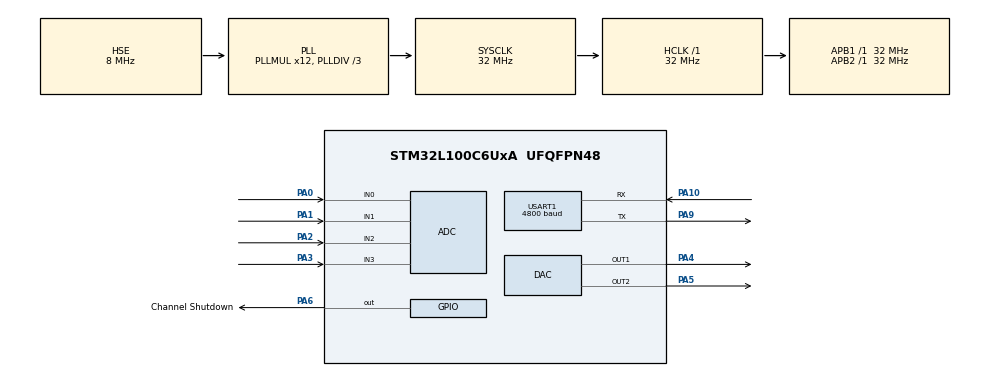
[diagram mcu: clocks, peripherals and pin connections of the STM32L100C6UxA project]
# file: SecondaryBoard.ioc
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ADC.Channel-0\#ChannelRegularConversion=ADC_CHANNEL_0
ADC.Channel-1\#ChannelRegularConversion=ADC_CHANNEL_1
ADC.Channel-2\#ChannelRegularConversion=ADC_CHANNEL_2
ADC.Channel-3\#ChannelRegularConversion=ADC_CHANNEL_3
ADC.Channel-4\#ChannelRegularConversion=ADC_CHANNEL_VREFINT
ADC.ClockPrescaler=ADC_CLOCK_ASYNC_DIV4
ADC.ContinuousConvMode=ENABLE
ADC.DMAContinuousRequests=ENABLE
ADC.EnableAnalogWatchDog=false
ADC.NbrOfConversion=5
ADC.NbrOfConversionFlag=1
ADC.Rank-0\#ChannelRegularConversion=1
ADC.Rank-1\#ChannelRegularConversion=2
ADC.Rank-2\#ChannelRegularConversion=3
ADC.Rank-3\#ChannelRegularConversion=4
ADC.Rank-4\#ChannelRegularConversion=5
ADC.SamplingTime-0\#ChannelRegularConversion=ADC_SAMPLETIME_4CYCLES
ADC.SamplingTime-1\#ChannelRegularConversion=ADC_SAMPLETIME_4CYCLES
ADC.SamplingTime-2\#ChannelRegularConversion=ADC_SAMPLETIME_4CYCLES
ADC.SamplingTime-3\#ChannelRegularConversion=ADC_SAMPLETIME_4CYCLES
ADC.SamplingTime-4\#ChannelRegularConversion=ADC_SAMPLETIME_4CYCLES
ADC.ScanConvMode=ADC_SCAN_ENABLE
Dma.ADC.0.Direction=DMA_PERIPH_TO_MEMORY
Dma.ADC.0.Instance=DMA1_Channel1
Dma.ADC.0.MemDataAlignment=DMA_MDATAALIGN_HALFWORD
Dma.ADC.0.MemInc=DMA_MINC_ENABLE
Dma.ADC.0.Mode=DMA_CIRCULAR
Dma.ADC.0.PeriphDataAlignment=DMA_PDATAALIGN_HALFWORD
Dma.ADC.0.PeriphInc=DMA_PINC_DISABLE
Dma.ADC.0.Priority=DMA_PRIORITY_LOW
Dma.Request0=ADC
Dma.Request1=USART1_TX
Dma.USART1_TX.1.Direction=DMA_MEMORY_TO_PERIPH
Dma.USART1_TX.1.Instance=DMA1_Channel4
Dma.USART1_TX.1.MemDataAlignment=DMA_MDATAALIGN_BYTE
Dma.USART1_TX.1.MemInc=DMA_MINC_ENABLE
Dma.USART1_TX.1.Mode=DMA_CIRCULAR
Dma.USART1_TX.1.PeriphDataAlignment=DMA_PDATAALIGN_BYTE
Dma.USART1_TX.1.PeriphInc=DMA_PINC_DISABLE
Dma.USART1_TX.1.Priority=DMA_PRIORITY_LOW
Mcu.Family=STM32L1
Mcu.Name=STM32L100C6UxA
Mcu.Package=UFQFPN48
NVIC.DMA1_Channel1_IRQn=true\:0\:0\:false\:false\:true\:false\:true\:true
NVIC.DMA1_Channel4_IRQn=true\:0\:0\:false\:false\:true\:false\:true\:true
NVIC.PriorityGroup=NVIC_PRIORITYGROUP_4
PA0-WKUP1.Mode=IN0
PA0-WKUP1.Signal=ADC_IN0
PA1.Mode=IN1
PA1.Signal=ADC_IN1
PA10.Mode=Asynchronous
PA10.Signal=USART1_RX
PA13.Mode=Serial_Wire
PA13.Signal=SYS_JTMS-SWDIO
PA14.Mode=Serial_Wire
PA14.Signal=SYS_JTCK-SWCLK
PA2.Mode=IN2
PA2.Signal=ADC_IN2
PA3.Mode=IN3
PA3.Signal=ADC_IN3
PA4.Signal=COMP_DAC1_group
PA5.Signal=COMP_DAC2_group
PA6.GPIO_Label=Channel Shutdown
PA6.PinState=GPIO_PIN_SET
PA6.Signal=GPIO_Output
PA9.Mode=Asynchronous
PA9.Signal=USART1_TX
PH0-OSC_IN.Mode=HSE-External-Oscillator
PH0-OSC_IN.Signal=RCC_OSC_IN
PH1-OSC_OUT.Mode=HSE-External-Oscillator
PH1-OSC_OUT.Signal=RCC_OSC_OUT
ProjectManager.HeapSize=0x200
ProjectManager.StackSize=0x400
ProjectManager.TargetToolchain=MDK-ARM V5
RCC.48MHZClocksFreq_Value=48000000
RCC.AHBFreq_Value=32000000
RCC.APB1Freq_Value=32000000
RCC.APB1TimFreq_Value=32000000
RCC.APB2Freq_Value=32000000
RCC.APB2TimFreq_Value=32000000
RCC.HCLKFreq_Value=32000000
RCC.HSE_VALUE=8000000
RCC.HSI_VALUE=16000000
RCC.LSE_VALUE=32768
RCC.MSI_VALUE=2097000
RCC.PLLDIV=RCC_PLL_DIV3
RCC.PLLMUL=RCC_PLL_MUL12
RCC.PLLSourceVirtual=RCC_PLLSOURCE_HSE
RCC.SYSCLKFreq_VALUE=32000000
RCC.SYSCLKSource=RCC_SYSCLKSOURCE_PLLCLK
RCC.VCOOutputFreq_Value=96000000
SH.COMP_DAC1_group.0=DAC_OUT1,DAC_OUT1
SH.COMP_DAC2_group.0=DAC_OUT2,DAC_OUT2
USART1.BaudRate=4800
USART1.Parity=PARITY_ODD
USART1.VirtualMode=VM_ASYNC
USART1.WordLength=WORDLENGTH_9B
VP_ADC_Vref_Input.Mode=IN-Vrefint
board=custom

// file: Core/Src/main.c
/* USER CODE BEGIN Header */
/**
  ******************************************************************************
  * @file           : main.c
  * @brief          : Main program body
  ******************************************************************************
  * @attention
  *
  * Copyright (c) 2022 STMicroelectronics.
  * All rights reserved.
  *
  * This software is licensed under terms that can be found in the LICENSE file
  * in the root directory of this software component.
  * If no LICENSE file comes with this software, it is provided AS-IS.
  *
  ******************************************************************************
  */
/* USER CODE END Header */
#include "main.h"

/* USER CODE BEGIN Includes */
#include "string.h"
/* USER CODE END Includes */

 ADC_HandleTypeDef hadc;
DMA_HandleTypeDef hdma_adc;

DAC_HandleTypeDef hdac;

UART_HandleTypeDef huart1;
DMA_HandleTypeDef hdma_usart1_tx;

/* USER CODE BEGIN PV */

float P = 0.1;
float I = 0.1;
float D = 0.1;

uint8_t txbuffer[64];//Uart TX Buffer
uint8_t rxbuffer[64];//Uart RX Buffer
uint8_t rxbuffercpy[64];//Uart RX Buffer copy for manipulation

//Channel numbers
float voltnum1 = 0.0;
float ampnum1 = 0.0;
//float voltnum2 = 0.0;
//float ampnum2 = 0.0;

float correctedvoltnum1;

uint8_t first_shot = 1;

//Array for the adc values and vars to hold them
uint16_t adcvalues[5];
uint16_t adc_current = 0;
uint16_t adc_linear = 0;
uint16_t adc_opamp = 0;
uint16_t adc_switching = 0;
uint16_t adc_vref = 0;
uint16_t* vrefptr = ((uint16_t*)VREFINT_CAL_ADDR_CMSIS);

//Globals for adc values
uint16_t v1;
float lin_num;
float cur_num;
float op_num;
float swi_num;

// The value for the Intgral part of the PID controller
float error = 0;
float derivative = 0;
float integral = 0;
float error_previous = 0;
float correction = 0;

/* USER CODE END PV */

void SystemClock_Config(void);
static void MX_GPIO_Init(void);
static void MX_DMA_Init(void);
static void MX_ADC_Init(void);
static void MX_DAC_Init(void);
static void MX_USART1_UART_Init(void);
/* USER CODE BEGIN PFP */

void ourInit(void);//Runs several Inits

/* USER CODE END PFP */

int main(void)
{

  /* MCU Configuration--------------------------------------------------------*/

  /* Reset of all peripherals, Initializes the Flash interface and the Systick. */
  HAL_Init();

  /* Configure the system clock */
  SystemClock_Config();

  /* Initialize all configured peripherals */
  MX_GPIO_Init();
  MX_DMA_Init();
  MX_ADC_Init();
  MX_DAC_Init();
  MX_USART1_UART_Init();
  /* USER CODE BEGIN 2 */
	ourInit();
  /* USER CODE END 2 */

  /* Infinite loop */
  while (1)
  {

    /* USER CODE BEGIN 3 */

		//Control channel here

		if(voltnum1 <= 0.00){
			HAL_GPIO_WritePin(Channel_Shutdown_GPIO_Port, Channel_Shutdown_Pin, GPIO_PIN_SET);
			//HAL_GPIO_WritePin(Status_LED_1_GPIO_Port, Status_LED_1_Pin, GPIO_PIN_RESET);
		}

		uint16_t vrefvalue = (uint16_t)*vrefptr;
		float vddcalc = (float)3.0 * ((float)vrefvalue / (float)adc_vref);

		float cur_num_temp = ((((float)3.0 * (float)adc_current * (float)vrefvalue)/((float)adc_vref * (float)4095) / (float)20) / (float)0.15);
		if(cur_num_temp >= 0.0000){
			cur_num = cur_num_temp;
		}
		else{
			cur_num = 0.0000;
		}
		//float cur_num = (((float)vddcalc * (float)adc_current * (float)4095) / (float)20) / (float)0.3;
		float op_num_temp = ((float)3.0 * ((float)adc_opamp * (float)4.0) * (float)vrefvalue)/((float)adc_vref * (float)4095) - ((float)cur_num * (float)0.35);
		if(op_num_temp >= 0.0000){
			op_num = op_num_temp;
		}
		else{
			op_num = 0.0000;
		}
		float lin_num_temp = ((float)3.0 * ((float)adc_linear * (float)4.0) * (float)vrefvalue)/((float)adc_vref * (float)4095) - ((float)cur_num * (float)0.35);
		if(lin_num_temp >= 0.0000){
			lin_num = lin_num_temp;
		}
		else{
			lin_num = 0.0000;
		}
		//float lin_num = ((float)vddcalc * (float)adc_linear * (float)4095) * (float)4;
		float swi_num_temp = ((float)3.0 * ((float)adc_switching * (float)5.0) * (float)vrefvalue)/((float)adc_vref * (float)4095);
		if(swi_num_temp >= 0.0000){
			swi_num = swi_num_temp;
		}
		else{
			swi_num = 0.0000;
		}

		if(first_shot){
			v1 = (uint16_t)((( (((float)voltnum1) / (float)4.0) + ((float)0.446974063 / (float)4.0)) * (float)4095) / (float)vddcalc);
			HAL_DAC_SetValue(&hdac, DAC_CHANNEL_1, DAC_ALIGN_12B_R, v1);
			correctedvoltnum1 = voltnum1;
			integral = 0;
			error = 0;
			derivative = 0;
			first_shot = 0;
		}

/*
		else{ // Bang-Bang Controller
			//Try really hard to get the voltage right
			const float margin = 0.05;
			if(lin_num > voltnum1 + margin){
				v1--;
				HAL_DAC_SetValue(&hdac, DAC_CHANNEL_1, DAC_ALIGN_12B_R, v1);
			}
			else if(lin_num < voltnum1 - margin){
				v1++;
				HAL_DAC_SetValue(&hdac, DAC_CHANNEL_1, DAC_ALIGN_12B_R, v1);
			}
		}
*/

		else {
			error = lin_num - voltnum1;
			integral += error;
			derivative = error - error_previous;
			error_previous = error;
			correction = P * error + I * integral + D * derivative;
			correctedvoltnum1 = voltnum1 - correction;
			if(correctedvoltnum1 > 12.0){
				correctedvoltnum1 = 12.0;
			}
			else if(correctedvoltnum1 < 0.0){
				correctedvoltnum1 = 0.0;
			}
			v1 = (uint16_t)((( (correctedvoltnum1 / (float)4.0) + ((float)0.446974063 / (float)4.0)) * (float)4095) / (float)vddcalc);
			HAL_DAC_SetValue(&hdac, DAC_CHANNEL_1, DAC_ALIGN_12B_R, v1);
		}

		if(voltnum1 > 0.00){
			HAL_GPIO_WritePin(Channel_Shutdown_GPIO_Port, Channel_Shutdown_Pin, GPIO_PIN_RESET);
			//HAL_GPIO_WritePin(Status_LED_1_GPIO_Port, Status_LED_1_Pin, GPIO_PIN_SET);
		}

		HAL_Delay(1);
  }
  /* USER CODE END 3 */
}

void SystemClock_Config(void)
{
  RCC_OscInitTypeDef RCC_OscInitStruct = {0};
  RCC_ClkInitTypeDef RCC_ClkInitStruct = {0};

  /** Configure the main internal regulator output voltage
  */
  __HAL_PWR_VOLTAGESCALING_CONFIG(PWR_REGULATOR_VOLTAGE_SCALE1);

  /** Initializes the RCC Oscillators according to the specified parameters
  * in the RCC_OscInitTypeDef structure.
  */
  RCC_OscInitStruct.OscillatorType = RCC_OSCILLATORTYPE_HSI|RCC_OSCILLATORTYPE_HSE;
  RCC_OscInitStruct.HSEState = RCC_HSE_ON;
  RCC_OscInitStruct.HSIState = RCC_HSI_ON;
  RCC_OscInitStruct.HSICalibrationValue = RCC_HSICALIBRATION_DEFAULT;
  RCC_OscInitStruct.PLL.PLLState = RCC_PLL_ON;
  RCC_OscInitStruct.PLL.PLLSource = RCC_PLLSOURCE_HSE;
  RCC_OscInitStruct.PLL.PLLMUL = RCC_PLL_MUL12;
  RCC_OscInitStruct.PLL.PLLDIV = RCC_PLL_DIV3;
  if (HAL_RCC_OscConfig(&RCC_OscInitStruct) != HAL_OK)
  {
    Error_Handler();
  }

  /** Initializes the CPU, AHB and APB buses clocks
  */
  RCC_ClkInitStruct.ClockType = RCC_CLOCKTYPE_HCLK|RCC_CLOCKTYPE_SYSCLK
                              |RCC_CLOCKTYPE_PCLK1|RCC_CLOCKTYPE_PCLK2;
  RCC_ClkInitStruct.SYSCLKSource = RCC_SYSCLKSOURCE_PLLCLK;
  RCC_ClkInitStruct.AHBCLKDivider = RCC_SYSCLK_DIV1;
  RCC_ClkInitStruct.APB1CLKDivider = RCC_HCLK_DIV1;
  RCC_ClkInitStruct.APB2CLKDivider = RCC_HCLK_DIV1;

  if (HAL_RCC_ClockConfig(&RCC_ClkInitStruct, FLASH_LATENCY_1) != HAL_OK)
  {
    Error_Handler();
  }
}

static void MX_ADC_Init(void)
{

  ADC_ChannelConfTypeDef sConfig = {0};

  /** Configure the global features of the ADC (Clock, Resolution, Data Alignment and number of conversion)
  */
  hadc.Instance = ADC1;
  hadc.Init.ClockPrescaler = ADC_CLOCK_ASYNC_DIV4;
  hadc.Init.Resolution = ADC_RESOLUTION_12B;
  hadc.Init.DataAlign = ADC_DATAALIGN_RIGHT;
  hadc.Init.ScanConvMode = ADC_SCAN_ENABLE;
  hadc.Init.EOCSelection = ADC_EOC_SEQ_CONV;
  hadc.Init.LowPowerAutoWait = ADC_AUTOWAIT_DISABLE;
  hadc.Init.LowPowerAutoPowerOff = ADC_AUTOPOWEROFF_DISABLE;
  hadc.Init.ChannelsBank = ADC_CHANNELS_BANK_A;
  hadc.Init.ContinuousConvMode = ENABLE;
  hadc.Init.NbrOfConversion = 5;
  hadc.Init.DiscontinuousConvMode = DISABLE;
  hadc.Init.ExternalTrigConv = ADC_SOFTWARE_START;
  hadc.Init.ExternalTrigConvEdge = ADC_EXTERNALTRIGCONVEDGE_NONE;
  hadc.Init.DMAContinuousRequests = ENABLE;
  if (HAL_ADC_Init(&hadc) != HAL_OK)
  {
    Error_Handler();
  }

  /** Configure for the selected ADC regular channel its corresponding rank in the sequencer and its sample time.
  */
  sConfig.Channel = ADC_CHANNEL_0;
  sConfig.Rank = ADC_REGULAR_RANK_1;
  sConfig.SamplingTime = ADC_SAMPLETIME_4CYCLES;
  if (HAL_ADC_ConfigChannel(&hadc, &sConfig) != HAL_OK)
  {
    Error_Handler();
  }

  /** Configure for the selected ADC regular channel its corresponding rank in the sequencer and its sample time.
  */
  sConfig.Channel = ADC_CHANNEL_1;
  sConfig.Rank = ADC_REGULAR_RANK_2;
  if (HAL_ADC_ConfigChannel(&hadc, &sConfig) != HAL_OK)
  {
    Error_Handler();
  }

  /** Configure for the selected ADC regular channel its corresponding rank in the sequencer and its sample time.
  */
  sConfig.Channel = ADC_CHANNEL_2;
  sConfig.Rank = ADC_REGULAR_RANK_3;
  if (HAL_ADC_ConfigChannel(&hadc, &sConfig) != HAL_OK)
  {
    Error_Handler();
  }

  /** Configure for the selected ADC regular channel its corresponding rank in the sequencer and its sample time.
  */
  sConfig.Channel = ADC_CHANNEL_3;
  sConfig.Rank = ADC_REGULAR_RANK_4;
  if (HAL_ADC_ConfigChannel(&hadc, &sConfig) != HAL_OK)
  {
    Error_Handler();
  }

  /** Configure for the selected ADC regular channel its corresponding rank in the sequencer and its sample time.
  */
  sConfig.Channel = ADC_CHANNEL_VREFINT;
  sConfig.Rank = ADC_REGULAR_RANK_5;
  if (HAL_ADC_ConfigChannel(&hadc, &sConfig) != HAL_OK)
  {
    Error_Handler();
  }

}

static void MX_DAC_Init(void)
{

  DAC_ChannelConfTypeDef sConfig = {0};

  /** DAC Initialization
  */
  hdac.Instance = DAC;
  if (HAL_DAC_Init(&hdac) != HAL_OK)
  {
    Error_Handler();
  }

  /** DAC channel OUT1 config
  */
  sConfig.DAC_Trigger = DAC_TRIGGER_NONE;
  sConfig.DAC_OutputBuffer = DAC_OUTPUTBUFFER_ENABLE;
  if (HAL_DAC_ConfigChannel(&hdac, &sConfig, DAC_CHANNEL_1) != HAL_OK)
  {
    Error_Handler();
  }

  /** DAC channel OUT2 config
  */
  if (HAL_DAC_ConfigChannel(&hdac, &sConfig, DAC_CHANNEL_2) != HAL_OK)
  {
    Error_Handler();
  }

}

static void MX_USART1_UART_Init(void)
{

  huart1.Instance = USART1;
  huart1.Init.BaudRate = 4800;
  huart1.Init.WordLength = UART_WORDLENGTH_9B;
  huart1.Init.StopBits = UART_STOPBITS_1;
  huart1.Init.Parity = UART_PARITY_ODD;
  huart1.Init.Mode = UART_MODE_TX_RX;
  huart1.Init.HwFlowCtl = UART_HWCONTROL_NONE;
  huart1.Init.OverSampling = UART_OVERSAMPLING_16;
  if (HAL_UART_Init(&huart1) != HAL_OK)
  {
    Error_Handler();
  }

}

static void MX_DMA_Init(void)
{

  /* DMA controller clock enable */
  __HAL_RCC_DMA1_CLK_ENABLE();

  /* DMA interrupt init */
  /* DMA1_Channel1_IRQn interrupt configuration */
  HAL_NVIC_SetPriority(DMA1_Channel1_IRQn, 0, 0);
  HAL_NVIC_EnableIRQ(DMA1_Channel1_IRQn);
  /* DMA1_Channel4_IRQn interrupt configuration */
  HAL_NVIC_SetPriority(DMA1_Channel4_IRQn, 0, 0);
  HAL_NVIC_EnableIRQ(DMA1_Channel4_IRQn);

}

static void MX_GPIO_Init(void)
{
  GPIO_InitTypeDef GPIO_InitStruct = {0};

  /* GPIO Ports Clock Enable */
  __HAL_RCC_GPIOH_CLK_ENABLE();
  __HAL_RCC_GPIOA_CLK_ENABLE();

  /*Configure GPIO pin Output Level */
  HAL_GPIO_WritePin(GPIOA, GPIO_PIN_6, GPIO_PIN_SET);

  /*Configure GPIO pin : PA6 */
  GPIO_InitStruct.Pin = GPIO_PIN_6;
  GPIO_InitStruct.Mode = GPIO_MODE_OUTPUT_PP;
  GPIO_InitStruct.Pull = GPIO_NOPULL;
  GPIO_InitStruct.Speed = GPIO_SPEED_FREQ_LOW;
  HAL_GPIO_Init(GPIOA, &GPIO_InitStruct);

}

/* USER CODE BEGIN 4 */

void ourInit(void){
	HAL_GPIO_WritePin(Channel_Shutdown_GPIO_Port, Channel_Shutdown_Pin, GPIO_PIN_SET);	//Ensure shutdown is enabled
	/*
	 * The HAL library is dumb and tries to init the adc before the DMA which does not work
	 * if the ADC is using the DMA. This init code is placed in space reserved for CubeMx so
	 * manually reordering it will be overwritten every time we regenerate code.
	 */
	HAL_ADC_DeInit(&hadc);
	HAL_DMA_DeInit(&hdma_adc);
	MX_DMA_Init();
	MX_ADC_Init();

	//Actually our init now
	HAL_ADC_Start_DMA(&hadc, (uint32_t*)&adcvalues, 5);// start the adc in dma mode
	HAL_DAC_Start(&hdac, DAC_CHANNEL_1);
	HAL_DAC_Start(&hdac, DAC_CHANNEL_2);
	HAL_DAC_SetValue(&hdac, DAC_CHANNEL_1, DAC_ALIGN_12B_R, 0);
	HAL_DAC_SetValue(&hdac, DAC_CHANNEL_2, DAC_ALIGN_12B_R, 0);
	//USB_EXTIinit();
	//Ensure keypad columns output 0 by default
	//HAL_GPIO_WritePin(Col_1_GPIO_Port, Col_1_Pin|Col_2_Pin|Col_3_Pin|Col_4_Pin, GPIO_PIN_RESET);

	//LCD Init
	//lcd_psu_init();
	//Start display timer
	//HAL_TIM_Base_Start_IT(&htim3);

	memset (txbuffer, '\0', 64);  // clear the buffer
	memset (rxbuffer, '\0', 64);  // clear the buffer
	memset (rxbuffercpy, '\0', 64);  // clear the buffer

	strncpy((char*)txbuffer, "Hello World From Second MCU\n", sizeof("Hello World From Second MCU\n"));

	HAL_UART_Transmit_DMA(&huart1, txbuffer, 64);
}

void HAL_ADC_ConvCpltCallback(ADC_HandleTypeDef* hadc)
{
  adc_current = adcvalues[2];
	adc_linear = adcvalues[1];
	adc_opamp = adcvalues[0];
	adc_switching = adcvalues[3];
	adc_vref = adcvalues[4];
}

void HAL_UART_TxHalfCpltCallback(UART_HandleTypeDef *huart){

}

void HAL_UART_TxCpltCallback(UART_HandleTypeDef *huart){

}

/* USER CODE END 4 */

void Error_Handler(void)
{
  __disable_irq();
  while (1)
  {
  }
}
